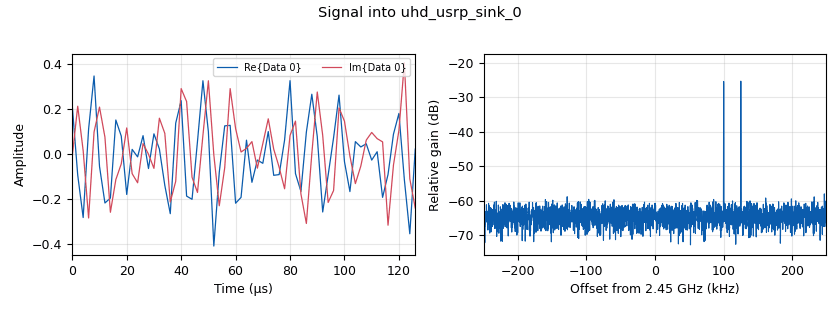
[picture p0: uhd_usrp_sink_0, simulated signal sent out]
options:
  parameters:
    author: Example
    category: Custom
    description: Loopback test
    generate_options: qt_gui
    id: uhd_two_tone_loopback
    output_language: python
    title: UHD Loopback - 2 Tone
  states: {}

blocks:
- name: noise_ampl
  id: variable_qtgui_range
  parameters:
    gui_hint: 1,0,1,2
    label: Noise Amplitude
    orient: Qt.Orientation.Horizontal
    start: '0'
    step: '.001'
    stop: '1'
    value: '0.1'
  states: {}
- name: tone1
  id: variable_qtgui_range
  parameters:
    gui_hint: 0,0,1,2
    label: Tone 1
    orient: Qt.Orientation.Horizontal
    start: '-samp_rate/2'
    step: '1'
    stop: samp_rate/2
    value: samp_rate/4
  states: {}
- name: tone2
  id: variable_qtgui_range
  parameters:
    gui_hint: 0,2,1,2
    label: Tone 2
    orient: Qt.Orientation.Horizontal
    start: '-samp_rate/2'
    step: '1'
    stop: samp_rate/2
    value: samp_rate/5
  states: {}
- name: tone_ampl
  id: variable_qtgui_range
  parameters:
    gui_hint: 1,2,1,2
    label: Tone Amplitude
    orient: Qt.Orientation.Horizontal
    start: '0'
    step: '.001'
    stop: '1'
    value: '0.15'
  states: {}
- name: tun_freq
  id: variable_qtgui_range
  parameters:
    gui_hint: 3,0,1,4
    label: UHD Freq (Hz)
    orient: Qt.Orientation.Horizontal
    start: 2.4e9
    step: '1'
    stop: 2.5e9
    value: 2.45e9
  states: {}
- name: tun_rx_gain
  id: variable_qtgui_range
  parameters:
    gui_hint: 4,2,1,2
    label: UHD Rx Gain
    orient: Qt.Orientation.Horizontal
    start: '0'
    step: '1'
    stop: '20'
    value: '0'
  states: {}
- name: tun_tx_gain
  id: variable_qtgui_range
  parameters:
    gui_hint: 4,0,1,2
    label: UHD Tx Gain
    orient: Qt.Orientation.Horizontal
    start: '0'
    step: '1'
    stop: '20'
    value: '0'
  states: {}
- name: address0
  id: parameter
  parameters:
    label: IP Address, Dev 0
    value: '"addr=192.168.10.2"'
  states: {}
- name: address1
  id: parameter
  parameters:
    label: IP Address, Dev 1
    value: '"addr=192.168.10.2"'
  states: {}
- name: analog_noise_source_x_0
  id: analog_noise_source_x
  parameters:
    amp: noise_ampl
    noise_type: analog.GR_GAUSSIAN
    seed: '-42'
    type: complex
  states: {}
- name: analog_sig_source_x_0
  id: analog_sig_source_x
  parameters:
    amp: tone_ampl
    freq: tone1
    offset: '0'
    phase: '0'
    samp_rate: samp_rate
    type: complex
    waveform: analog.GR_COS_WAVE
  states: {}
- name: analog_sig_source_x_1
  id: analog_sig_source_x
  parameters:
    amp: tone_ampl
    freq: tone2
    offset: '0'
    phase: '0'
    samp_rate: samp_rate
    type: complex
    waveform: analog.GR_COS_WAVE
  states: {}
- name: blocks_add_xx
  id: blocks_add_xx
  parameters:
    num_inputs: '3'
    type: complex
  states: {}
- name: freq
  id: parameter
  parameters:
    label: Default Frequency
    short_id: f
    type: eng_float
    value: 2.45e9
  states: {}
- name: freq_offset
  id: parameter
  parameters:
    label: Rx Frequency Offset
    short_id: o
    type: eng_float
    value: '0'
  states: {}
- name: qtgui_freq_sink_x_0
  id: qtgui_freq_sink_x
  parameters:
    bw: samp_rate
    fc: '0'
    fftsize: '1024'
    gui_hint: 2,0,1,4
    legend: 'False'
    showports: 'True'
    type: complex
  states: {}
- name: rx_gain
  id: parameter
  parameters:
    label: Default RX Gain
    type: eng_float
    value: '0'
  states: {}
- name: samp_rate
  id: parameter
  parameters:
    label: Sample Rate
    short_id: s
    type: eng_float
    value: 500e3
  states: {}
- name: tx_gain
  id: parameter
  parameters:
    label: Default TX Gain
    type: eng_float
    value: '0'
  states: {}
- name: uhd_usrp_sink_0
  id: uhd_usrp_sink
  parameters:
    ant0: ''
    center_freq0: tun_freq
    clock_rate: '0.0'
    dev_addr: address0
    dev_args: '""'
    gain0: tun_rx_gain
    len_tag_name: ''
    norm_gain0: 'False'
    samp_rate: samp_rate
    sd_spec0: A:0
    sync: sync
    type: fc32
  states: {}
- name: uhd_usrp_source_0
  id: uhd_usrp_source
  parameters:
    ant0: ''
    center_freq0: tun_freq
    clock_rate: '0.0'
    dc_offs_enb0: '""'
    dev_addr: address1
    dev_args: '""'
    gain0: tun_rx_gain
    iq_imbal_enb0: '""'
    norm_gain0: 'False'
    samp_rate: samp_rate
    sd_spec0: B:0
    sync: sync
    type: fc32
  states: {}

connections:
- [analog_noise_source_x_0, '0', blocks_add_xx, '2']
- [analog_sig_source_x_0, '0', blocks_add_xx, '0']
- [analog_sig_source_x_1, '0', blocks_add_xx, '1']
- [blocks_add_xx, '0', uhd_usrp_sink_0, '0']
- [uhd_usrp_source_0, '0', qtgui_freq_sink_x_0, '0']

metadata:
  file_format: 1
